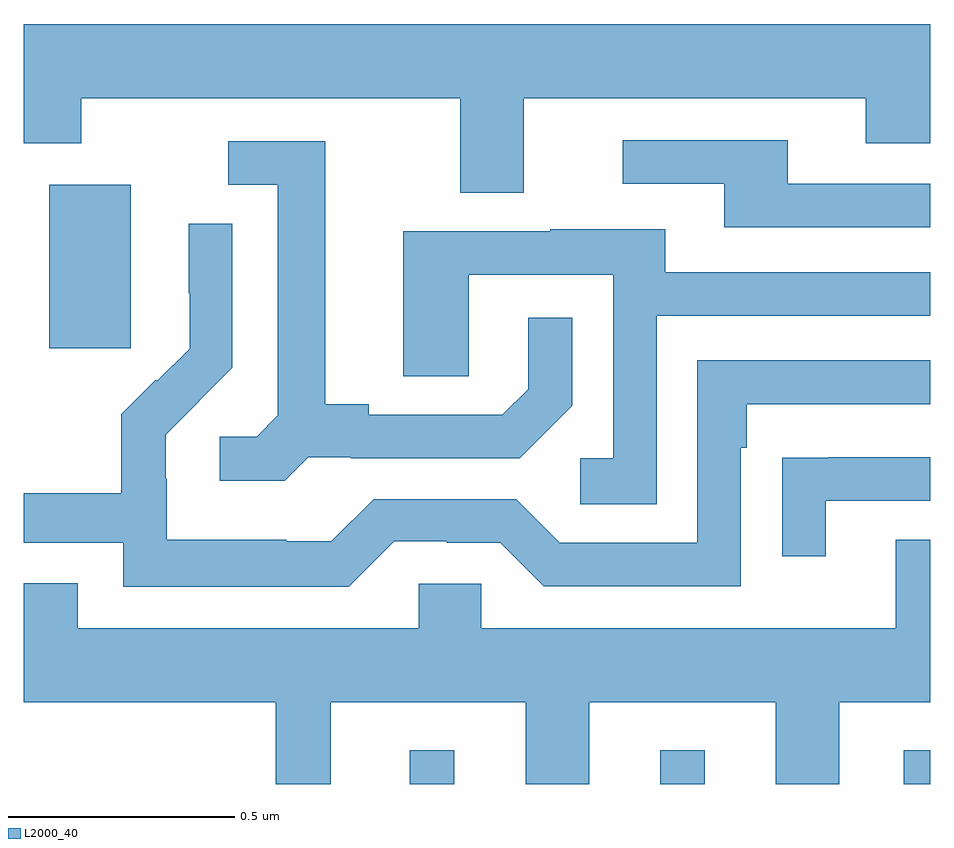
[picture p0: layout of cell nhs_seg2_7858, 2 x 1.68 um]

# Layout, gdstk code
import gdstk
lib = gdstk.Library(unit=1e-6, precision=1e-09)
def R(c, l, rs):  # rectangles x0, y0, x1, y1
    for r in rs: c.add(gdstk.rectangle(r[:2], r[2:], *l))
def P(c, l, *ps):  # polygons
    for p in ps: c.add(gdstk.Polygon(p, *l))
L2000_40 = (2000, 40)

nhs_seg2_7858 = lib.new_cell('nhs_seg2_7858')
R(nhs_seg2_7858, L2000_40, [(209.852,636.8,209.95,636.874), (210.404,636.8,210.502,636.874), (210.941,636.8,211,636.874), (209.057,637.761,209.236,638.122)])
P(nhs_seg2_7858, L2000_40, [(210.103,638.312),(210.857,638.312),(210.857,638.213),(211,638.213),(211,638.476),(209,638.476),(209,638.213),(209.127,638.213),(209.127,638.312),(209.963,638.312),(209.963,638.104),(210.103,638.104)],
  [(211,638.124),(210.685,638.124),(210.685,638.22),(210.321,638.22),(210.321,638.124),(210.545,638.124),(210.545,638.028),(211,638.028)],
  [(209.628,637.521),(209.722,637.521),(209.722,637.518),(210.094,637.518),(210.21,637.634),(210.21,637.828),(210.113,637.828),(210.113,637.671),(210.056,637.614),(209.761,637.614),(209.761,637.637),(209.665,637.637),(209.665,638.217),(209.451,638.217),(209.451,638.121),(209.561,638.121),(209.561,637.613),(209.514,637.566),(209.433,637.566),(209.433,637.469),(209.576,637.469)],
  [(209.817,637.335),(209.933,637.335),(209.933,637.332),(210.051,637.332),(210.147,637.236),(210.582,637.236),(210.582,637.541),(210.595,637.541),(210.595,637.638),(211,637.638),(211,637.734),(210.486,637.734),(210.486,637.332),(210.183,637.332),(210.087,637.428),(209.772,637.428),(209.679,637.335),(209.579,637.335),(209.579,637.339),(209.316,637.339),(209.316,637.473),(209.314,637.473),(209.314,637.57),(209.388,637.644),(209.387,637.645),(209.46,637.718),(209.46,638.036),(209.364,638.036),(209.364,637.882),(209.366,637.882),(209.366,637.76),(209.295,637.689),(209.292,637.692),(209.215,637.615),(209.215,637.441),(209,637.441),(209,637.332),(209.22,637.332),(209.22,637.235),(209.717,637.235)],
  [(210.396,637.833),(211,637.833),(211,637.929),(210.415,637.929),(210.415,638.023),(210.161,638.023),(210.161,638.019),(209.837,638.019),(209.837,637.699),(209.982,637.699),(209.982,637.923),(210.3,637.923),(210.3,637.518),(210.228,637.518),(210.228,637.417),(210.396,637.417)],
  [(210.769,637.425),(211,637.425),(211,637.521),(210.775,637.521),(210.775,637.52),(210.673,637.52),(210.673,637.302),(210.769,637.302)],
  [(209.677,636.98),(210.107,636.98),(210.107,636.8),(210.247,636.8),(210.247,636.98),(210.659,636.98),(210.659,636.8),(210.799,636.8),(210.799,636.98),(211,636.98),(211,637.339),(210.923,637.339),(210.923,637.144),(210.009,637.144),(210.009,637.242),(209.871,637.242),(209.871,637.144),(209.119,637.144),(209.119,637.243),(209,637.243),(209,636.98),(209.556,636.98),(209.556,636.8),(209.677,636.8)])

lib.write_gds('nhs_seg2_7858.gds')
